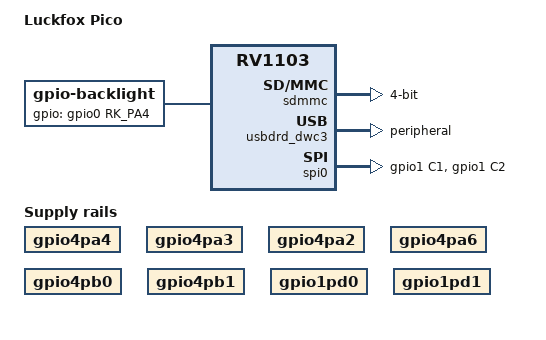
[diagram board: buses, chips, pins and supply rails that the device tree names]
// SPDX-License-Identifier: (GPL-2.0+ OR MIT)
/*
 * Copyright (c) 2022 Rockchip Electronics Co., Ltd.
 */

/dts-v1/;

#include "rv1103.dtsi"
#include "rv1106-evb.dtsi"
#include "rv1103-luckfox-pico-ipc.dtsi"

/ {
	model = "Luckfox Pico";
	compatible = "rockchip,rv1103g-38x38-ipc-v10", "rockchip,rv1103";

	gpio4pa4:gpio4pa4 {
		compatible = "regulator-fixed";
		pinctrl-names = "default";
		pinctrl-0 = <&gpio4_pa4>;
		regulator-name = "gpio4_pa4";
		regulator-always-on;
	};

	gpio4pa3:gpio4pa3 {
		compatible = "regulator-fixed";
		pinctrl-names = "default";
		pinctrl-0 = <&gpio4_pa3>;
		regulator-name = "gpio4_pa3";
		regulator-always-on;
	};

	gpio4pa2:gpio4pa2 {
		compatible = "regulator-fixed";
		pinctrl-names = "default";
		pinctrl-0 = <&gpio4_pa2>;
		regulator-name = "gpio4_pa2";
		regulator-always-on;
	};

	gpio4pa6:gpio4pa6 {
		compatible = "regulator-fixed";
		pinctrl-names = "default";
		pinctrl-0 = <&gpio4_pa6>;
		regulator-name = "gpio4_pa6";
		regulator-always-on;
	};

	gpio4pb0:gpio4pb0 {
		compatible = "regulator-fixed";
		pinctrl-names = "default";
		pinctrl-0 = <&gpio4_pb0>;
		regulator-name = "gpio4_pb0";
		regulator-always-on;
	};

	gpio4pb1:gpio4pb1 {
		compatible = "regulator-fixed";
		pinctrl-names = "default";
		pinctrl-0 = <&gpio4_pb1>;
		regulator-name = "gpio4_pb1";
		regulator-always-on;
	};
	backlight:backlight{		
		compatible = "gpio-backlight";
		pinctrl-names = "default";
		pinctrl-0 = <&gpio0_pa4>;
		gpios = <&gpio0 RK_PA4 GPIO_ACTIVE_HIGH>;
		default-on;
	};
 
	/*LCD_DC*/
    gpio1pd0:gpio1pd0 {
        compatible = "regulator-fixed";
        pinctrl-names = "default";
        pinctrl-0 = <&gpio1_pd0>;
        regulator-name = "gpio1_pd0";
        regulator-always-on;
    };
 
	/*LCD_RES*/
    gpio1pd1:gpio1pd1 {
        compatible = "regulator-fixed";
        pinctrl-names = "default";
        pinctrl-0 = <&gpio1_pd1>;
        regulator-name = "gpio1_pd1";
        regulator-always-on;
    };
};

/**********GPIO***********/
&pinctrl{
	gpio {
		gpio4_pa4:gpio4-pa4 {
			rockchip,pins = <4 RK_PA4 RK_FUNC_GPIO &pcfg_pull_none>;
		};

		gpio4_pa3:gpio4-pa3 {
			rockchip,pins = <4 RK_PA3 RK_FUNC_GPIO &pcfg_pull_none>;
		};

		gpio4_pa2:gpio4-pa2 {
			rockchip,pins = <4 RK_PA2 RK_FUNC_GPIO &pcfg_pull_none>;
		};

		gpio4_pa6:gpio4-pa6 {
			rockchip,pins = <4 RK_PA6 RK_FUNC_GPIO &pcfg_pull_none>;
		};

		gpio4_pb0:gpio4-pb0 {
			rockchip,pins = <4 RK_PB0 RK_FUNC_GPIO &pcfg_pull_none>;
		};

		gpio4_pb1:gpio4-pb1 {
			rockchip,pins = <4 RK_PB1 RK_FUNC_GPIO &pcfg_pull_none>;
		};
	};
/*LCD_BL*/
	gpio0-pa4 {
		gpio0_pa4:gpio0-pa4 {
			rockchip,pins =	<0 RK_PA4 RK_FUNC_GPIO &pcfg_pull_none>;
		};
	};
 
	/*LCD_DC*/
    gpio1-pd0 {
        gpio1_pd0:gpio1-pd0 {
            rockchip,pins = <1 RK_PD0 RK_FUNC_GPIO &pcfg_pull_none>;
        };
    };
 
	/*LCD_RES*/
    gpio1-pd1 {
        gpio1_pd1:gpio1-pd1 {
            rockchip,pins = <1 RK_PD1 RK_FUNC_GPIO &pcfg_pull_none>;
        };
    };
 
    spi0 {
        /omit-if-no-ref/
        spi0m0_pins: spi0m0-pins {
            rockchip,pins =
                /* spi0_clk_m0 */
                <1 RK_PC1 4 &pcfg_pull_none>,
                /* spie_miso_m0 */
                /* <1 RK_PC3 6 &pcfg_pull_none>, */	// 先不动，还用uart4作为bl
                /* spi_mosi_m0 */
                <1 RK_PC2 6 &pcfg_pull_none>;
        };
    };
};

/**********SDMMC**********/
&sdmmc {
	max-frequency = <50000000>;
	no-sdio;
	no-mmc;
	bus-width = <4>;
	cap-mmc-highspeed;
	cap-sd-highspeed;
	disable-wp;
	pinctrl-names = "default";
	pinctrl-0 = <&sdmmc0_clk &sdmmc0_cmd &sdmmc0_det &sdmmc0_bus4>;
	status = "okay";
};

/**********ETH**********/
&gmac {
	status = "disabled";
};

/**********USB**********/
&usbdrd_dwc3 {
	status = "okay";
	dr_mode = "peripheral";
};

/**********SPI**********/
/* SPI0_M0 */
&spi0 {
	status = "okay";
	pinctrl-names = "default";
	// pinctrl-0 = <&spi0m0_pins>;		// 包含clk,mi,mo
	pinctrl-0 = <&spi0m0_cs0 &spi0m0_pins>;
	#address-cells = <1>;			
	#size-cells = <0>;				
	
	spidev@0 {						
		status = "disabled";
		compatible = "rockchip,spidev";
		spi-max-frequency = <1000000000>;
		reg = <0>;
	};
};
/**********I2C**********/
/* I2C3_M1 */
&i2c3 {
	status = "disabled";
	clock-frequency = <100000>;
};

/**********UART**********/
/* UART3_M1 */
&uart3 {
	status = "disabled";
};

/* UART4_M1 */
&uart4 {
	status = "disabled";
};

/**********PWM**********/
/* PWM1_M0 */
&pwm1 {
	status = "disabled";
};




